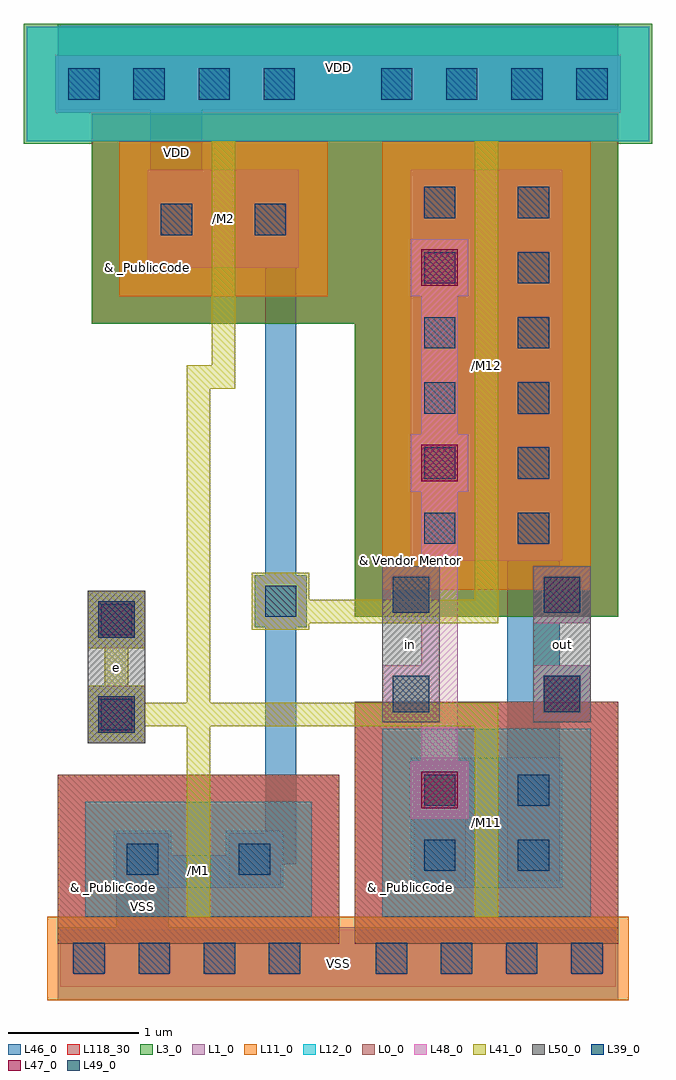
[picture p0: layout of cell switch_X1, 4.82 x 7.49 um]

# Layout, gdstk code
import gdstk
lib = gdstk.Library(unit=1e-6, precision=1e-09)
def R(c, l, rs):  # rectangles x0, y0, x1, y1
    for r in rs: c.add(gdstk.rectangle(r[:2], r[2:], *l))
def A(c, l, x, y, w, h, nx, ny, dx, dy):  # array of equal rectangles
    R(c, l, [(x+i*dx, y+j*dy, x+i*dx+w, y+j*dy+h) for i in range(nx) for j in range(ny)])
def P(c, l, *ps):  # polygons
    for p in ps: c.add(gdstk.Polygon(p, *l))
L0_0 = (0, 0)
L1_0 = (1, 0)
L3_0 = (3, 0)
L11_0 = (11, 0)
L12_0 = (12, 0)
L39_0 = (39, 0)
L41_0 = (41, 0)
L46_0 = (46, 0)
L47_0 = (47, 0)
L48_0 = (48, 0)
L49_0 = (49, 0)
L50_0 = (50, 0)
L118_30 = (118, 30)

m1m2 = lib.new_cell('M1M2')
R(m1m2, L46_0, [(-0.22,-0.22,0.22,0.22)])
R(m1m2, L47_0, [(-0.14,-0.14,0.14,0.14)])
R(m1m2, L48_0, [(-0.22,-0.22,0.22,0.22)])

m2m3 = lib.new_cell('M2M3')
R(m2m3, L48_0, [(-0.22,-0.22,0.22,0.22)])
R(m2m3, L49_0, [(-0.14,-0.14,0.14,0.14)])
R(m2m3, L50_0, [(-0.22,-0.22,0.22,0.22)])

mpoly = lib.new_cell('MPOLY')
R(mpoly, L39_0, [(-0.12,-0.12,0.12,0.12)])
R(mpoly, L41_0, [(-0.22,-0.22,0.22,0.22)])
R(mpoly, L46_0, [(-0.2,-0.2,0.2,0.2)])

switch_x1 = lib.new_cell('switch_X1')
R(switch_x1, L0_0, [(0.09,-3.77,2.25,-2.47), (2.37,-3.77,4.39,-1.91)])
R(switch_x1, L1_0, [(0.11,-4.1,4.37,-3.66), (2.8,-3.34,3.96,-2.34), (2.8,-3.34,3.29,-2.34), (3.47,-3.34,3.96,-2.34), (2.8,-0.83,3.96,2.17), (2.8,-0.83,3.29,2.17), (3.47,-0.83,3.96,2.17), (0.78,1.42,1.94,2.17), (0.78,1.42,1.27,2.17), (1.45,1.42,1.94,2.17), (0.07,2.61,4.41,3.05)])
P(switch_x1, L1_0, [(1.82,-3.34),(1.82,-2.9),(1.38,-2.9),(1.38,-3.09),(0.96,-3.09),(0.96,-2.9),(0.52,-2.9),(0.52,-3.34)],
  [(1.82,-3.34),(1.82,-2.9),(1.38,-2.9),(1.38,-3.09),(1.26,-3.09),(1.26,-3.34)],
  [(1.08,-3.34),(1.08,-3.09),(0.96,-3.09),(0.96,-2.9),(0.52,-2.9),(0.52,-3.34)])
R(switch_x1, L3_0, [(2.37,-1.26,4.39,2.6), (0.35,0.99,2.37,2.6), (-0.17,2.37,4.65,3.29)])
R(switch_x1, L11_0, [(0.01,-4.2,4.47,-3.56), (2.58,-1.05,4.18,2.39), (0.56,1.2,2.16,2.39)])
R(switch_x1, L12_0, [(0.3,-3.56,2.04,-2.68), (2.58,-3.56,4.18,-2.12), (-0.15,2.39,4.63,3.27)])
A(switch_x1, L39_0, 0.21, -4, 0.24, 0.24, 4, 1, 0.5, 0)
A(switch_x1, L39_0, 2.53, -4, 0.24, 0.24, 4, 1, 0.5, 0)
A(switch_x1, L39_0, 2.9, -0.7, 0.24, 0.24, 1, 6, 0, 0.5)
A(switch_x1, L39_0, 3.62, -0.7, 0.24, 0.24, 1, 6, 0, 0.5)
A(switch_x1, L39_0, 0.17, 2.71, 0.24, 0.24, 4, 1, 0.5, 0)
A(switch_x1, L39_0, 2.57, 2.71, 0.24, 0.24, 4, 1, 0.5, 0)
R(switch_x1, L39_0, [(0.62,-3.24,0.86,-3), (1.48,-3.24,1.72,-3), (2.9,-3.21,3.14,-2.97), (3.62,-3.21,3.86,-2.97), (2.9,-2.71,3.14,-2.47), (3.62,-2.71,3.86,-2.47), (0.88,1.67,1.12,1.91), (1.6,1.67,1.84,1.91)])
R(switch_x1, L41_0, [(1.08,-3.56,1.26,-3.34), (3.29,-3.56,3.47,-3.34), (1.08,-3.34,1.26,-3.09), (3.29,-3.34,3.47,-2.34), (1.08,-3.09,1.26,-2.87), (3.29,-2.34,3.47,-2.12), (0.45,-2.1,1.26,-1.92), (0.45,-2.1,0.63,-1.19), (3.29,-1.05,3.47,-0.83), (3.29,-0.83,3.47,2.17), (1.27,1.2,1.45,1.42), (1.27,1.42,1.45,2.17), (1.27,2.17,1.45,2.39), (3.29,2.17,3.47,2.39)])
P(switch_x1, L41_0, [(1.08,-3.05),(1.26,-3.05),(1.26,-2.1),(3.29,-2.1),(3.29,-2.3),(3.47,-2.3),(3.47,-1.92),(1.26,-1.92),(1.26,0.49),(1.45,0.49),(1.45,1.38),(1.27,1.38),(1.27,0.67),(1.08,0.67)],
  [(1.71,-1.31),(3.47,-1.31),(3.47,-0.87),(3.29,-0.87),(3.29,-1.13),(1.71,-1.13)])
R(switch_x1, L46_0, [(0.09,-4.2,4.39,-3.64), (0.09,-4.12,4.39,-3.64), (0.54,-4.04,0.94,-2.92), (0.54,-3.32,0.94,-2.92), (1.4,-3.32,1.8,-2.92), (2.82,-3.29,3.22,-2.39), (3.54,-3.29,3.94,-2.39), (1.68,-3.16,1.92,-2.02), (3.54,-2.79,3.94,-0.38), (1.68,-2.26,1.92,1.83), (2.82,-0.78,3.22,2.12), (3.54,-0.78,3.94,2.12), (0.8,1.59,1.2,2), (0.8,1.59,1.2,3.02), (1.52,1.59,1.92,2), (0.09,2.63,4.39,3.03), (0.09,2.63,4.39,3.29)])
R(switch_x1, L48_0, [(2.88,-2.73,3.16,0.06), (2.88,-0.22,3.16,1.56)])
R(switch_x1, L50_0, [(0.32,-2.23,0.76,-1.06), (2.58,-2.07,3.02,-0.87), (3.74,-2.07,4.18,-0.87)])
R(switch_x1, L118_30, [(0.09,-3.77,2.25,-2.47), (2.37,-3.77,4.39,-1.91), (2.37,-1.26,4.39,2.6), (0.35,0.99,2.37,2.6)])
switch_x1.add(gdstk.Reference(m1m2, (0.54,-1.28)))
switch_x1.add(gdstk.Reference(m2m3, (0.54,-1.28)))
switch_x1.add(gdstk.Reference(m2m3, (2.8,-1.09)))
switch_x1.add(gdstk.Reference(m1m2, (3.02,-2.59)))
switch_x1.add(gdstk.Reference(m1m2, (3.02,-0.08)))
switch_x1.add(gdstk.Reference(m1m2, (3.02,1.42)))
switch_x1.add(gdstk.Reference(mpoly, (1.8,-1.14)))
switch_x1.add(gdstk.Reference(m1m2, (3.96,-1.09)))
switch_x1.add(gdstk.Reference(m1m2, (3.96,-1.85)))
switch_x1.add(gdstk.Reference(m2m3, (3.96,-1.85)))
switch_x1.add(gdstk.Reference(m2m3, (3.96,-1.09)))
switch_x1.add(gdstk.Reference(m2m3, (2.8,-1.85)))
switch_x1.add(gdstk.Reference(mpoly, (0.54,-2.01)))
switch_x1.add(gdstk.Reference(m1m2, (0.54,-2.01)))
switch_x1.add(gdstk.Reference(m2m3, (0.54,-2.01)))
switch_x1.add(gdstk.Reference(mpoly, (0.54,-1.28)))
switch_x1.add(gdstk.Label('& _PublicCode', (2.8,-3.34), layer=63, texttype=63))
switch_x1.add(gdstk.Label('/M11', (3.38,-2.84), layer=85, texttype=0))
switch_x1.add(gdstk.Label('& Vendor Mentor', (2.8,-3.34), layer=63, texttype=63))
switch_x1.add(gdstk.Label('& Product UMC180FDKMFM', (2.8,-3.34), layer=63, texttype=63))
switch_x1.add(gdstk.Label('& Version A01', (2.8,-3.34), layer=63, texttype=63))
switch_x1.add(gdstk.Label('& Metric 0', (2.8,-3.34), layer=63, texttype=63))
switch_x1.add(gdstk.Label('/M12', (3.38,0.67), layer=85, texttype=0))
switch_x1.add(gdstk.Label('& Vendor Mentor', (2.8,-0.83), layer=63, texttype=63))
switch_x1.add(gdstk.Label('& Product UMC180FDKMFM', (2.8,-0.83), layer=63, texttype=63))
switch_x1.add(gdstk.Label('& Version A01', (2.8,-0.83), layer=63, texttype=63))
switch_x1.add(gdstk.Label('& Metric 0', (2.8,-0.83), layer=63, texttype=63))
switch_x1.add(gdstk.Label('& _PublicCode', (2.8,-0.83), layer=63, texttype=63))
switch_x1.add(gdstk.Label('& _PublicCode', (0.78,1.42), layer=63, texttype=63))
switch_x1.add(gdstk.Label('/M2', (1.36,1.8), layer=85, texttype=0))
switch_x1.add(gdstk.Label('& Vendor Mentor', (0.78,1.42), layer=63, texttype=63))
switch_x1.add(gdstk.Label('& Product UMC180FDKMFM', (0.78,1.42), layer=63, texttype=63))
switch_x1.add(gdstk.Label('& Version A01', (0.78,1.42), layer=63, texttype=63))
switch_x1.add(gdstk.Label('& Metric 0', (0.78,1.42), layer=63, texttype=63))
switch_x1.add(gdstk.Label('& _PublicCode', (0.52,-3.34), layer=63, texttype=63))
switch_x1.add(gdstk.Label('/M1', (1.17,-3.21), layer=85, texttype=0))
switch_x1.add(gdstk.Label('& Vendor Mentor', (0.52,-3.34), layer=63, texttype=63))
switch_x1.add(gdstk.Label('& Product UMC180FDKMFM', (0.52,-3.34), layer=63, texttype=63))
switch_x1.add(gdstk.Label('& Version A01', (0.52,-3.34), layer=63, texttype=63))
switch_x1.add(gdstk.Label('& Metric 0', (0.52,-3.34), layer=63, texttype=63))
switch_x1.add(gdstk.Label('out', (3.96,-1.47), layer=103, texttype=0))
switch_x1.add(gdstk.Label('in', (2.8,-1.47), layer=103, texttype=0))
switch_x1.add(gdstk.Label('e', (0.54,-1.645), layer=103, texttype=0))
switch_x1.add(gdstk.Label('VSS', (2.24,-3.92), layer=101, texttype=0))
switch_x1.add(gdstk.Label('VSS', (0.74,-3.48), layer=101, texttype=0))
switch_x1.add(gdstk.Label('VDD', (2.24,2.96), layer=101, texttype=0))
switch_x1.add(gdstk.Label('VDD', (1,2.305), layer=101, texttype=0))

lib.write_gds('switch_X1.gds')
